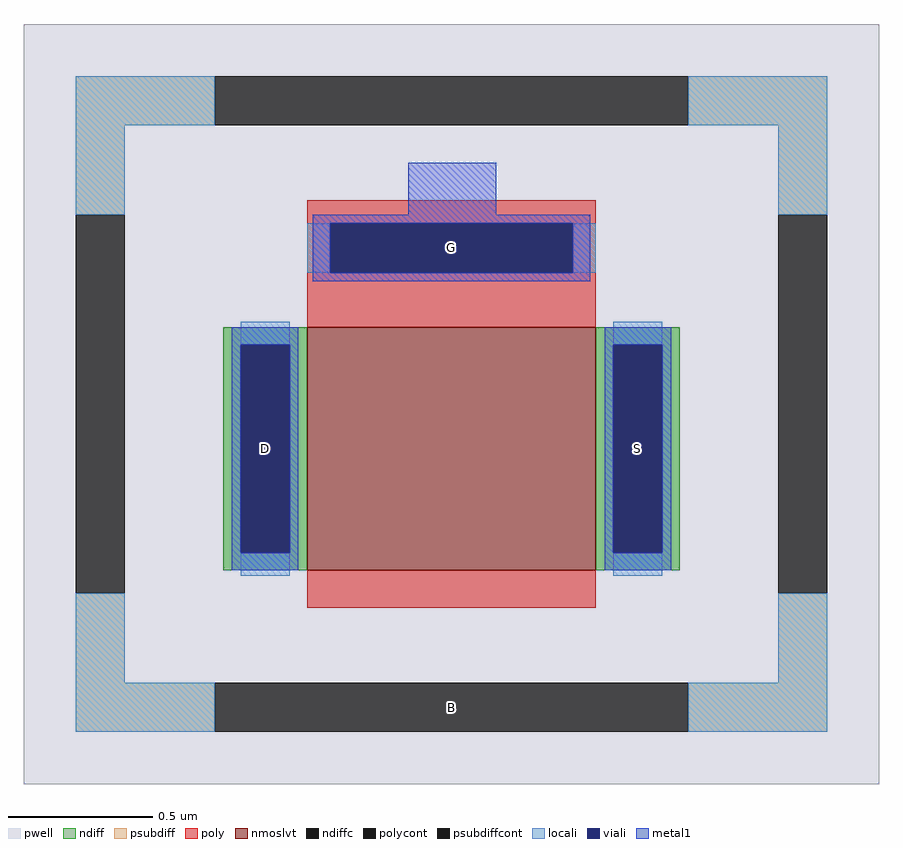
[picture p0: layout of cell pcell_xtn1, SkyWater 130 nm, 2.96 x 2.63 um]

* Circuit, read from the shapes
.subckt pcell_xtn1 B D S G
XM1 S G D B sky130_fd_pr__nfet_01v8_lvt w=0.84 l=1
.ends

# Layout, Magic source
magic
tech sky130A
magscale 1 2
<< pwell >>
rect -296 -263 296 263
<< nmoslvt >>
rect -100 -115 100 53
<< ndiff >>
rect -158 41 -100 53
rect -158 -103 -146 41
rect -112 -103 -100 41
rect -158 -115 -100 -103
rect 100 41 158 53
rect 100 -103 112 41
rect 146 -103 158 41
rect 100 -115 158 -103
<< ndiffc >>
rect -146 -103 -112 41
rect 112 -103 146 41
<< psubdiff >>
rect -260 193 -164 227
rect 164 193 260 227
rect -260 131 -226 193
rect 226 131 260 193
rect -260 -193 -226 -131
rect 226 -193 260 -131
rect -260 -227 -164 -193
rect 164 -227 260 -193
<< psubdiffcont >>
rect -164 193 164 227
rect -260 -131 -226 131
rect 226 -131 260 131
rect -164 -227 164 -193
<< poly >>
rect -100 125 100 141
rect -100 91 -84 125
rect 84 91 100 125
rect -100 53 100 91
rect -100 -141 100 -115
<< polycont >>
rect -84 91 84 125
<< locali >>
rect -260 193 -164 227
rect 164 193 260 227
rect -260 131 -226 193
rect 226 131 260 193
rect -100 91 -84 125
rect 84 91 100 125
rect -146 41 -112 57
rect -146 -119 -112 -103
rect 112 41 146 57
rect 112 -119 146 -103
rect -260 -193 -226 -131
rect 226 -193 260 -131
rect -260 -227 -164 -193
rect 164 -227 260 -193
<< viali >>
rect -84 91 84 125
rect -146 -103 -112 41
rect 112 -103 146 41
<< metal1 >>
rect -30 131 31 167
rect -96 125 96 131
rect -96 91 -84 125
rect 84 91 96 125
rect -96 85 96 91
rect -152 41 -106 53
rect -152 -103 -146 41
rect -112 -103 -106 41
rect -152 -115 -106 -103
rect 106 41 152 53
rect 106 -103 112 41
rect 146 -103 152 41
rect 106 -115 152 -103
<< labels >>
rlabel psubdiffcont 0 -210 0 -210 0 B
port 1 nsew
rlabel ndiffc -129 -31 -129 -31 0 D
port 2 nsew
rlabel ndiffc 129 -31 129 -31 0 S
port 3 nsew
rlabel polycont 0 108 0 108 0 G
port 4 nsew
<< end >>
